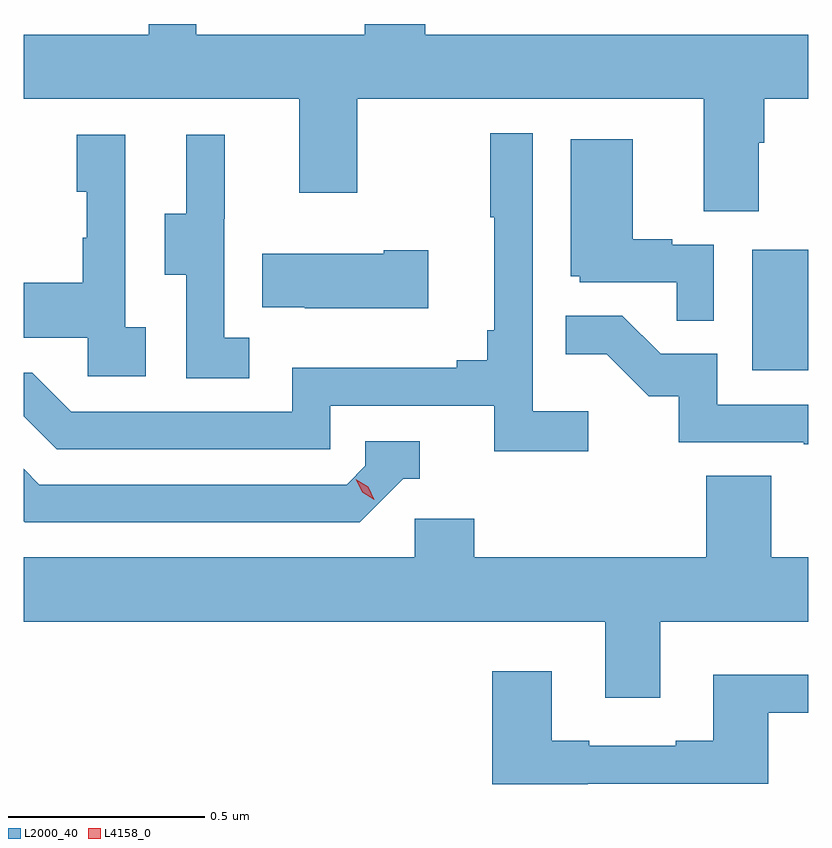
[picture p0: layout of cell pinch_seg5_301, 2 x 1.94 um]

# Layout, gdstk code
import gdstk
lib = gdstk.Library(unit=1e-6, precision=1e-09)
def R(c, l, rs):  # rectangles x0, y0, x1, y1
    for r in rs: c.add(gdstk.rectangle(r[:2], r[2:], *l))
def P(c, l, *ps):  # polygons
    for p in ps: c.add(gdstk.Polygon(p, *l))
L2000_40 = (2000, 40)
L4158_0 = (4158, 0)

pinch_seg5_301 = lib.new_cell('pinch_seg5_301')
R(pinch_seg5_301, L2000_40, [(894.188,882.708,894.331,883.015)])
P(pinch_seg5_301, L2000_40, [(894.205,883.288),(894.218,883.288),(894.218,883.4),(894.331,883.4),(894.331,883.564),(893.354,883.564),(893.354,883.591),(893.201,883.591),(893.201,883.564),(892.771,883.564),(892.771,883.591),(892.65,883.591),(892.65,883.564),(892.331,883.564),(892.331,883.4),(893.033,883.4),(893.033,883.161),(893.181,883.161),(893.181,883.4),(894.065,883.4),(894.065,883.114),(894.205,883.114)],
  [(893.77,882.604),(893.628,882.604),(893.628,883.312),(893.52,883.312),(893.52,883.099),(893.531,883.099),(893.531,882.811),(893.512,882.811),(893.512,882.734),(893.435,882.734),(893.435,882.715),(893.016,882.715),(893.016,882.603),(892.452,882.603),(892.353,882.702),(892.331,882.702),(892.331,882.591),(892.415,882.507),(893.112,882.507),(893.112,882.618),(893.531,882.618),(893.531,882.502),(893.77,882.502)],
  [(892.642,882.818),(892.59,882.818),(892.59,883.309),(892.466,883.309),(892.466,883.164),(892.492,883.164),(892.492,883.046),(892.482,883.046),(892.482,882.931),(892.331,882.931),(892.331,882.791),(892.494,882.791),(892.494,882.693),(892.642,882.693)],
  [(892.906,882.791),(892.842,882.791),(892.842,883.095),(892.844,883.095),(892.844,883.309),(892.745,883.309),(892.745,883.107),(892.691,883.107),(892.691,882.952),(892.746,882.952),(892.746,882.688),(892.906,882.688)],
  [(894.09,883.029),(893.984,883.029),(893.984,883.042),(893.884,883.042),(893.884,883.297),(893.726,883.297),(893.726,882.948),(893.748,882.948),(893.748,882.933),(893.995,882.933),(893.995,882.835),(894.09,882.835)],
  [(893.362,883.014),(893.249,883.014),(893.249,883.006),(892.939,883.006),(892.939,882.869),(893.047,882.869),(893.047,882.866),(893.362,882.866)],
  [(894.331,882.621),(894.099,882.621),(894.099,882.75),(893.955,882.75),(893.857,882.848),(893.713,882.848),(893.713,882.749),(893.817,882.749),(893.924,882.642),(894.001,882.642),(894.001,882.525),(894.319,882.525),(894.319,882.52),(894.331,882.52)],
  [(893.298,882.432),(893.341,882.432),(893.341,882.528),(893.202,882.528),(893.202,882.465),(893.154,882.417),(892.371,882.417),(892.331,882.457),(892.331,882.324),(892.334,882.321),(893.187,882.321)],
  [(893.953,882.068),(894.331,882.068),(894.331,882.232),(894.236,882.232),(894.236,882.44),(894.071,882.44),(894.071,882.232),(893.48,882.232),(893.48,882.33),(893.328,882.33),(893.328,882.232),(892.331,882.232),(892.331,882.068),(893.813,882.068),(893.813,881.874),(893.953,881.874)],
  [(893.769,881.655),(894.229,881.655),(894.229,881.835),(894.331,881.835),(894.331,881.932),(894.089,881.932),(894.089,881.764),(893.993,881.764),(893.993,881.751),(893.773,881.751),(893.773,881.764),(893.677,881.764),(893.677,881.941),(893.525,881.941),(893.525,881.654),(893.769,881.654)])
P(pinch_seg5_301, L4158_0, [(893.225,882.379),(893.194,882.398),(893.178,882.431),(893.178,882.431),(893.178,882.431),(893.209,882.412),(893.225,882.379),(893.225,882.379)])

lib.write_gds('pinch_seg5_301.gds')
